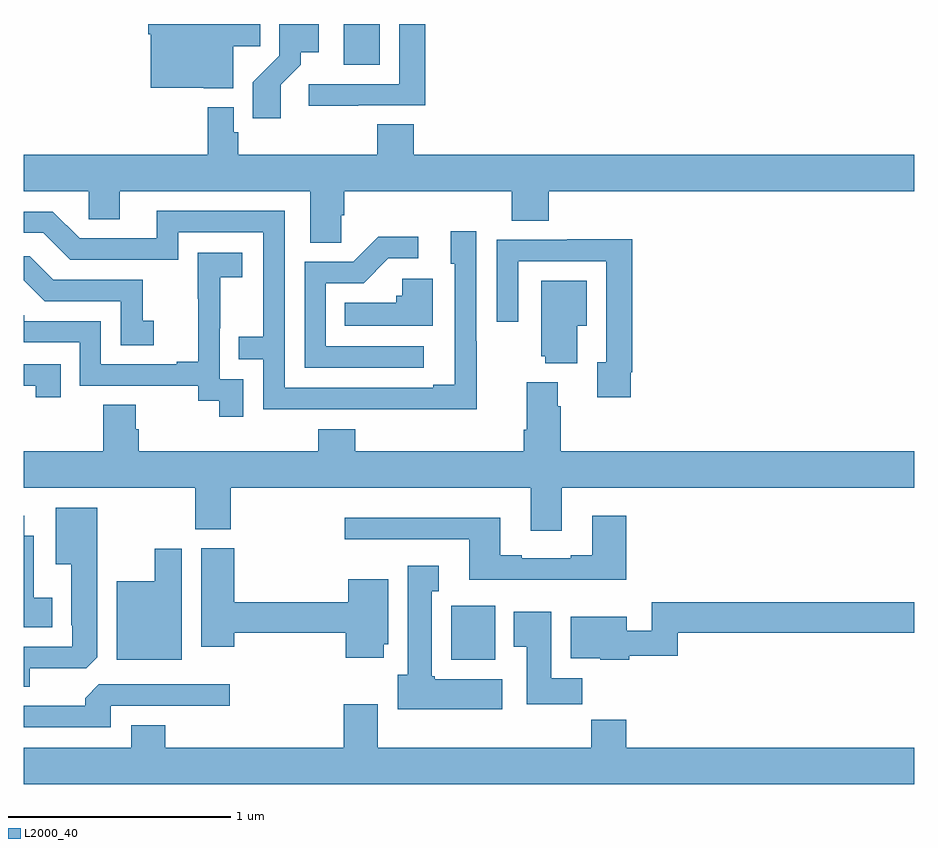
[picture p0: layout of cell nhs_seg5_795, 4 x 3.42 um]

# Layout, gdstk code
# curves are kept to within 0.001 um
import gdstk
lib = gdstk.Library(unit=1e-6, precision=1e-09)
def R(c, l, rs):  # rectangles x0, y0, x1, y1
    for r in rs: c.add(gdstk.rectangle(r[:2], r[2:], *l))
def P(c, l, *ps):  # polygons
    for p in ps: c.add(gdstk.Polygon(p, *l))
L2000_40 = (2000, 40)

nhs_seg5_795 = lib.new_cell('nhs_seg5_795')
R(nhs_seg5_795, L2000_40, [(162.92,899.942,163.117,900.184), (162.437,902.616,162.598,902.799)])
P(nhs_seg5_795, L2000_40, [(162.503,902.433),(162.803,902.433),(162.803,902.799),(162.687,902.799),(162.687,902.529),(162.279,902.529),(162.279,902.431),(162.503,902.431)],
  [(162.154,902.527),(162.244,902.617),(162.244,902.672),(162.325,902.672),(162.325,902.799),(162.147,902.799),(162.147,902.657),(162.028,902.538),(162.028,902.376),(162.154,902.376)],
  [(161.941,902.698),(162.062,902.698),(162.062,902.799),(161.558,902.799),(161.558,902.753),(161.57,902.753),(161.57,902.513),(161.808,902.513),(161.808,902.51),(161.941,902.51)],
  [(162.426,901.939),(162.44,901.939),(162.44,902.048),(163.193,902.048),(163.193,901.915),(163.358,901.915),(163.358,902.048),(165,902.048),(165,902.212),(162.752,902.212),(162.752,902.348),(162.587,902.348),(162.587,902.212),(161.963,902.212),(161.963,902.313),(161.943,902.313),(161.943,902.425),(161.827,902.425),(161.827,902.212),(161,902.212),(161,902.048),(161.292,902.048),(161.292,901.921),(161.431,901.921),(161.431,902.048),(162.287,902.048),(162.287,901.816),(162.426,901.816)],
  [(163.035,901.373),(163.032,901.373),(163.032,901.867),(162.917,901.867),(162.917,901.722),(162.936,901.722),(162.936,901.177),(162.839,901.177),(162.839,901.164),(162.171,901.164),(162.171,901.959),(161.597,901.959),(161.597,901.836),(161.25,901.836),(161.13,901.956),(161,901.956),(161,901.86),(161.088,901.86),(161.208,901.74),(161.694,901.74),(161.694,901.863),(162.075,901.863),(162.075,901.394),(161.965,901.394),(161.965,901.293),(162.075,901.293),(162.075,901.068),(163.035,901.067)],
  [(162.796,901.35),(162.357,901.35),(162.357,901.635),(162.526,901.635),(162.637,901.746),(162.772,901.746),(162.772,901.844),(162.593,901.844),(162.48,901.731),(162.261,901.731),(162.261,901.254),(162.796,901.254)],
  [(163.726,901.234),(163.733,901.234),(163.733,901.832),(163.441,901.832),(163.441,901.83),(163.125,901.83),(163.125,901.461),(163.221,901.461),(163.221,901.734),(163.617,901.734),(163.617,901.278),(163.577,901.278),(163.577,901.122),(163.726,901.122)],
  [(161.985,901.203),(161.88,901.203),(161.88,901.433),(161.882,901.433),(161.882,901.661),(161.98,901.661),(161.98,901.771),(161.782,901.771),(161.782,901.565),(161.783,901.565),(161.783,901.282),(161.687,901.282),(161.687,901.269),(161.346,901.269),(161.346,901.464),(161.001,901.464),(161.001,901.491),(161,901.491),(161,901.368),(161.25,901.368),(161.25,901.173),(161.784,901.173),(161.784,901.105),(161.877,901.105),(161.877,901.035),(161.985,901.035)],
  [(161.584,901.465),(161.535,901.465),(161.535,901.65),(161.131,901.65),(161.026,901.755),(161,901.755),(161,901.648),(161.094,901.554),(161.436,901.554),(161.436,901.356),(161.584,901.356)],
  [(162.838,901.654),(162.699,901.654),(162.699,901.578),(162.673,901.578),(162.673,901.546),(162.442,901.546),(162.442,901.442),(162.838,901.442)],
  [(163.486,901.442),(163.528,901.442),(163.528,901.645),(163.325,901.645),(163.325,901.305),(163.343,901.305),(163.343,901.274),(163.486,901.274)],
  [(161.165,901.269),(161,901.269),(161,901.173),(161.054,901.173),(161.054,901.122),(161.165,901.122)],
  [(163.417,900.716),(165,900.716),(165,900.88),(163.412,900.88),(163.412,901.082),(163.399,901.082),(163.399,901.189),(163.259,901.189),(163.259,900.976),(163.247,900.976),(163.247,900.88),(162.488,900.88),(162.488,900.979),(162.323,900.979),(162.323,900.88),(161.516,900.88),(161.516,900.978),(161.503,900.978),(161.503,901.088),(161.356,901.088),(161.356,900.88),(161,900.88),(161,900.716),(161.77,900.716),(161.77,900.529),(161.93,900.529),(161.93,900.716),(163.277,900.716),(163.277,900.522),(163.417,900.522)],
  [(161.026,899.904),(161.28,899.904),(161.329,899.953),(161.329,900.625),(161.144,900.625),(161.144,900.371),(161.213,900.371),(161.213,900.097),(161.217,900.097),(161.217,900),(161,900),(161,899.821),(161.026,899.821)],
  [(163.706,900.589),(163.553,900.589),(163.553,900.412),(163.457,900.412),(163.457,900.399),(163.237,900.399),(163.237,900.412),(163.141,900.412),(163.141,900.58),(162.441,900.58),(162.441,900.483),(163.001,900.483),(163.001,900.302),(163.706,900.302)],
  [(161.128,900.22),(161.044,900.22),(161.044,900.499),(161.002,900.499),(161.002,900.589),(161,900.589),(161,900.089),(161.128,900.089)],
  [(162.616,900.012),(162.637,900.012),(162.637,900.304),(162.458,900.304),(162.458,900.2),(161.945,900.2),(161.945,900.444),(161.798,900.444),(161.798,900),(161.945,900),(161.945,900.064),(162.446,900.064),(162.446,899.952),(162.616,899.952)],
  [(161.71,900.442),(161.588,900.442),(161.588,900.295),(161.417,900.295),(161.417,899.942),(161.71,899.942)],
  [(163.15,899.854),(162.846,899.854),(162.846,899.868),(162.832,899.868),(162.832,900.251),(162.865,900.251),(162.865,900.364),(162.725,900.364),(162.725,899.874),(162.68,899.874),(162.68,899.72),(163.15,899.72)],
  [(163.721,899.961),(163.937,899.961),(163.937,900.064),(165,900.064),(165,900.2),(163.821,900.2),(163.821,900.072),(163.708,900.072),(163.708,900.136),(163.457,900.136),(163.457,899.948),(163.59,899.948),(163.59,899.942),(163.721,899.942)],
  [(163.508,899.86),(163.369,899.86),(163.369,900.157),(163.202,900.157),(163.202,900.001),(163.259,900.001),(163.259,899.742),(163.508,899.742)],
  [(161.391,899.736),(161.926,899.736),(161.926,899.832),(161.337,899.832),(161.276,899.77),(161.276,899.736),(161,899.736),(161,899.64),(161.391,899.64)],
  [(165,899.548),(163.706,899.548),(163.706,899.672),(163.549,899.672),(163.549,899.548),(162.589,899.548),(162.589,899.743),(162.437,899.743),(162.437,899.548),(161.636,899.548),(161.636,899.647),(161.483,899.647),(161.483,899.548),(161,899.548),(161,899.384),(165,899.384)])

lib.write_gds('nhs_seg5_795.gds')
